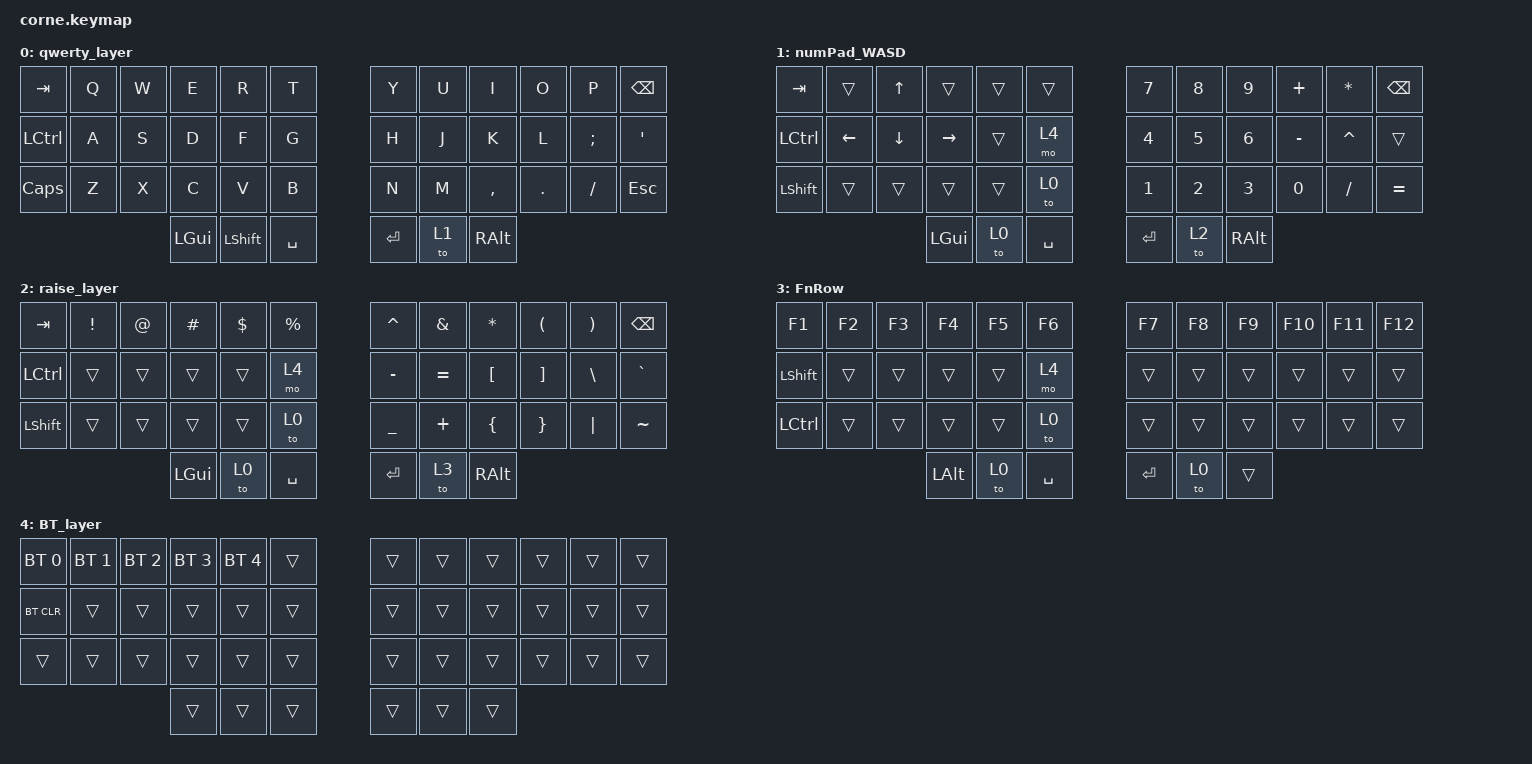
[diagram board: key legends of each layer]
/*
 * Copyright (c) 2020 The ZMK Contributors
 *
 * SPDX-License-Identifier: MIT
 */

#include <behaviors.dtsi>
#include <dt-bindings/zmk/bt.h>
#include <dt-bindings/zmk/keys.h>

/ {
    combos {
        compatible = "zmk,combos";

        k+l- {
            bindings = <&kp MINUS>;
            key-positions = <21 22>;
        };
    };

    keymap {
        compatible = "zmk,keymap";

        qwerty_layer {
            // -----------------------------------------------------------------------------------------
            // |  TAB |  Q  |  W  |  E  |  R  |  T  |   |  Y  |  U   |  I  |  O  |  P  | BKSP |
            // | CTRL |  A  |  S  |  D  |  F  |  G  |   |  H  |  J   |  K  |  L  |  ;  |  '   |
            // | SHFT |  Z  |  X  |  C  |  V  |  B  |   |  N  |  M   |  ,  |  .  |  /  | ESC  |
            //                    | GUI | LWR | SPC |   | ENT | RSE  | ALT |

            bindings = <
&kp TAB    &kp Q  &kp W  &kp E     &kp R      &kp T        &kp Y    &kp U  &kp I      &kp O    &kp P     &kp BSPC
&kp LCTRL  &kp A  &kp S  &kp D     &kp F      &kp G        &kp H    &kp J  &kp K      &kp L    &kp SEMI  &kp SQT
&kp CLCK   &kp Z  &kp X  &kp C     &kp V      &kp B        &kp N    &kp M  &kp COMMA  &kp DOT  &kp FSLH  &kp ESC
                         &kp LGUI  &kp LSHFT  &kp SPACE    &kp RET  &to 1  &kp RALT
            >;
        };

        numPad_WASD {
            // -----------------------------------------------------------------------------------------
            // |  TAB |  1  |  2  |  3  |  4  |  5  |   |  6  |  7  |  8  |  9  |  0  | BKSP |
            // | BTCLR| BT1 | BT2 | BT3 | BT4 | BT5 |   | LFT | DWN |  UP | RGT |     |      |
            // | SHFT |     |     |     |     |     |   |     |     |     |     |     |      |
            //                    | GUI |     | SPC |   | ENT |     | ALT |

            bindings = <
&kp TAB           &trans    &kp UP    &trans     &trans  &trans       &kp N7   &kp N8  &kp N9    &kp PLUS   &kp ASTERISK  &kp BSPC
&kp LEFT_CONTROL  &kp LEFT  &kp DOWN  &kp RIGHT  &trans  &mo 4        &kp N4   &kp N5  &kp N6    &kp MINUS  &kp CARET     &trans
&kp LSHFT         &trans    &trans    &trans     &trans  &to 0        &kp N1   &kp N2  &kp N3    &kp N0     &kp SLASH     &kp EQUAL
                                      &kp LGUI   &to 0   &kp SPACE    &kp RET  &to 2   &kp RALT
            >;
        };

        raise_layer {
            // -----------------------------------------------------------------------------------------
            // |  TAB |  !  |  @  |  #  |  $  |  %  |   |  ^  |  &  |  *  |  (  |  )  | BKSP |
            // | CTRL |     |     |     |     |     |   |  -  |  =  |  [  |  ]  |  \  |  `   |
            // | SHFT |     |     |     |     |     |   |  _  |  +  |  {  |  }  | "|" |  ~   |
            //                    | GUI |     | SPC |   | ENT |     | ALT |

            bindings = <
&kp TAB    &kp EXCL  &kp AT  &kp HASH  &kp DLLR  &kp PRCNT    &kp CARET  &kp AMPS   &kp ASTRK  &kp LPAR  &kp RPAR  &kp BSPC
&kp LCTRL  &trans    &trans  &trans    &trans    &mo 4        &kp MINUS  &kp EQUAL  &kp LBKT   &kp RBKT  &kp BSLH  &kp GRAVE
&kp LSHFT  &trans    &trans  &trans    &trans    &to 0        &kp UNDER  &kp PLUS   &kp LBRC   &kp RBRC  &kp PIPE  &kp TILDE
                             &kp LGUI  &to 0     &kp SPACE    &kp RET    &to 3      &kp RALT
            >;
        };

        FnRow {
            bindings = <
&kp F1     &kp F2  &kp F3  &kp F4    &kp F5  &kp F6       &kp F7     &kp F8  &kp F9  &kp F10  &kp F11  &kp F12
&kp LSHFT  &trans  &trans  &trans    &trans  &mo 4        &trans     &trans  &trans  &trans   &trans   &trans
&kp LCTRL  &trans  &trans  &trans    &trans  &to 0        &trans     &trans  &trans  &trans   &trans   &trans
                           &kp LALT  &to 0   &kp SPACE    &kp ENTER  &to 0   &trans
            >;
        };

        BT_layer {
            bindings = <
&bt BT_SEL 0  &bt BT_SEL 1  &bt BT_SEL 2  &bt BT_SEL 3  &bt BT_SEL 4  &trans    &trans  &trans  &trans  &trans  &trans  &trans
&bt BT_CLR    &trans        &trans        &trans        &trans        &trans    &trans  &trans  &trans  &trans  &trans  &trans
&trans        &trans        &trans        &trans        &trans        &trans    &trans  &trans  &trans  &trans  &trans  &trans
                                          &trans        &trans        &trans    &trans  &trans  &trans
            >;
        };
    };
};
